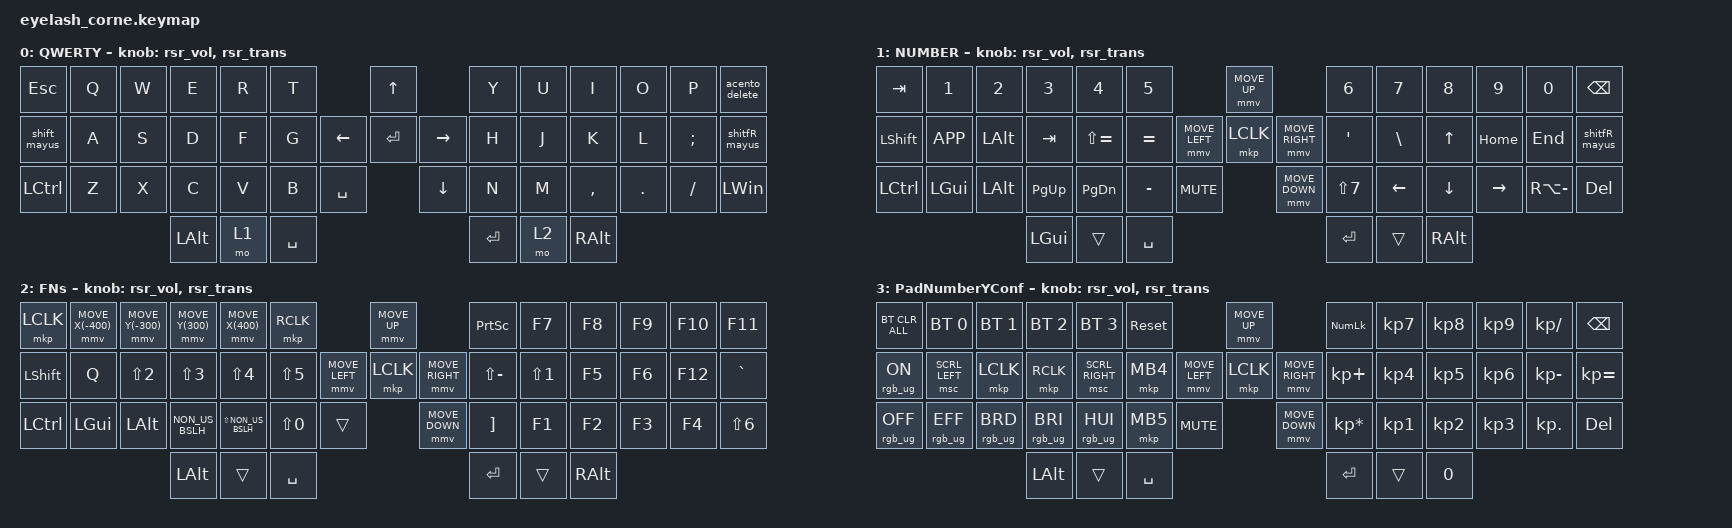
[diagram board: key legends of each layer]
#define ZMK_POINTING_DEFAULT_MOVE_VAL 1200  // 600
#define ZMK_POINTING_DEFAULT_SCRL_VAL 140   // 10

#include <input/processors.dtsi>
#include <zephyr/dt-bindings/input/input-event-codes.h>
#include <behaviors/runtime-sensor-rotate.dtsi>
#include <behaviors.dtsi>
#include <dt-bindings/zmk/bt.h>
#include <dt-bindings/zmk/keys.h>
#include <dt-bindings/zmk/pointing.h>
#include <dt-bindings/zmk/rgb.h>

&soft_off { hold-time-ms = <2000>; };

/ {
    behaviors {
        td0: td0 {
            compatible = "zmk,behavior-tap-dance";
            display-name = "Shift/Caps Lock Tap Dance";
            #binding-cells = <0>;
            bindings = <&kp LEFT_SHIFT>, <&kp CAPS>;
        };

        rsr_vol: rsr_vol {
            compatible = "zmk,behavior-runtime-sensor-rotate";
            #sensor-binding-cells = <0>;
            tap-ms = <5>;
            cw-binding = <&kp C_VOL_UP>;
            ccw-binding = <&kp C_VOL_DN>;
        };

        rsr_trans: rsr_trans {
            compatible = "zmk,behavior-runtime-sensor-rotate";
            #sensor-binding-cells = <0>;
            tap-ms = <0>;
        };

        shift_mayus: shift_mayus {
            compatible = "zmk,behavior-tap-dance";
            label = "SHIFT_MAYUS";
            #binding-cells = <0>;
            tapping-term-ms = <200>;
            bindings = <&kp LEFT_SHIFT>, <&kp CAPSLOCK>;
        };

        acento_delete: acento_delete {
            compatible = "zmk,behavior-tap-dance";
            label = "ACENTO_DELETE";
            #binding-cells = <0>;
            tapping-term-ms = <150>;
            bindings = <&kp LEFT_BRACKET>, <&kp BACKSPACE>;
        };

        shitfR_mayus: shitfR_mayus {
            compatible = "zmk,behavior-tap-dance";
            label = "SHITFR_MAYUS";
            #binding-cells = <0>;
            tapping-term-ms = <200>;
            bindings = <&kp RIGHT_SHIFT>, <&kp CAPSLOCK>;
        };
    };

    combos {
        compatible = "zmk,combos";

        softoff {
            bindings = <&soft_off>;
            key-positions = <1 15 29>;
            slow-release;
            layers = <2>;
            timeout-ms = <3000>;
            require-prior-idle-ms = <1000>;
        };
    };

    keymap {
        compatible = "zmk,keymap";

        qwerty {
            display-name = "QWERTY";
            bindings = <
&kp ESC       &kp Q  &kp W  &kp E         &kp R  &kp T                             &kp UP                &kp Y      &kp U  &kp I      &kp O    &kp P     &acento_delete
&shift_mayus  &kp A  &kp S  &kp D         &kp F  &kp G                   &kp LEFT  &kp ENTER  &kp RIGHT  &kp H      &kp J  &kp K      &kp L    &kp SEMI  &shitfR_mayus
&kp LCTRL     &kp Z  &kp X  &kp C         &kp V  &kp B      &kp SPACE              &kp DOWN              &kp N      &kp M  &kp COMMA  &kp DOT  &kp FSLH  &kp LEFT_WIN
                            &kp LEFT_ALT  &mo 1  &kp SPACE                                               &kp ENTER  &mo 2  &kp RALT
            >;

            sensor-bindings = <&rsr_vol &rsr_trans>;
        };

        NUMBER {
            display-name = "NUMBER";
            bindings = <
&kp TAB           &kp N1        &kp N2        &kp N3        &kp N4         &kp N5                                   &mmv MOVE_UP                     &kp N6          &kp N7         &kp N8         &kp N9     &kp N0         &kp BSPC
&kp LEFT_SHIFT    &kp K_APP     &kp LEFT_ALT  &kp TAB       &kp LS(EQUAL)  &kp EQUAL                &mmv MOVE_LEFT  &mkp LCLK       &mmv MOVE_RIGHT  &kp APOSTROPHE  &kp BACKSLASH  &kp UP         &kp HOME   &kp END        &shitfR_mayus
&kp LEFT_CONTROL  &kp LEFT_GUI  &kp LEFT_ALT  &kp PAGE_UP   &kp PAGE_DOWN  &kp MINUS  &kp C_MUTE                    &mmv MOVE_DOWN                   &kp LS(N7)      &kp LEFT       &kp DOWN       &kp RIGHT  &kp RA(MINUS)  &kp DEL
                                              &kp LEFT_GUI  &trans         &kp SPACE                                                                 &kp ENTER       &trans         &kp RIGHT_ALT
            >;

            sensor-bindings = <&rsr_vol &rsr_trans>;
        };

        FNs {
            display-name = "FNs";
            bindings = <
&mkp LCLK       &mmv MOVE_X(-400)  &mmv MOVE_Y(-300)  &mmv MOVE_Y(300)  &mmv MOVE_X(400)     &mkp RCLK                                   &mmv MOVE_UP                     &kp PRINTSCREEN    &kp F7      &kp F8         &kp F9  &kp F10  &kp F11
&kp LEFT_SHIFT  &kp Q              &kp LS(N2)         &kp LS(NUMBER_3)  &kp LS(NUMBER_4)     &kp LS(NUMBER_5)            &mmv MOVE_LEFT  &mkp LCLK       &mmv MOVE_RIGHT  &kp LS(MINUS)      &kp LS(N1)  &kp F5         &kp F6  &kp F12  &kp GRAVE
&kp LCTRL       &kp LEFT_GUI       &kp LEFT_ALT       &kp NON_US_BSLH   &kp LS(NON_US_BSLH)  &kp LS(N0)        &trans                    &mmv MOVE_DOWN                   &kp RIGHT_BRACKET  &kp F1      &kp F2         &kp F3  &kp F4   &kp LS(NUMBER_6)
                                                      &kp LEFT_ALT      &trans               &kp SPACE                                                                    &kp RET            &trans      &kp RIGHT_ALT
            >;

            sensor-bindings = <&rsr_vol &rsr_trans>;
        };

        PadNumber {
            display-name = "PadNumberYConf";
            bindings = <
&bt BT_CLR_ALL   &bt BT_SEL 0     &bt BT_SEL 1     &bt BT_SEL 2     &bt BT_SEL 3     &sys_reset                                &mmv MOVE_UP                     &kp KP_NUMLOCK   &kp KP_NUMBER_7  &kp KP_NUMBER_8  &kp KP_NUMBER_9  &kp KP_DIVIDE    &kp BACKSPACE
&rgb_ug RGB_ON   &msc SCRL_LEFT   &mkp LCLK        &mkp RCLK        &msc SCRL_RIGHT  &mkp MB4                  &mmv MOVE_LEFT  &mkp LCLK       &mmv MOVE_RIGHT  &kp KP_PLUS      &kp KP_NUMBER_4  &kp KP_NUMBER_5  &kp KP_NUMBER_6  &kp KP_SUBTRACT  &kp KP_EQUAL
&rgb_ug RGB_OFF  &rgb_ug RGB_EFF  &rgb_ug RGB_BRD  &rgb_ug RGB_BRI  &rgb_ug RGB_HUI  &mkp MB5    &kp C_MUTE                    &mmv MOVE_DOWN                   &kp KP_MULTIPLY  &kp KP_NUMBER_1  &kp KP_NUMBER_2  &kp KP_NUMBER_3  &kp KP_DOT       &kp DEL
                                                   &kp LEFT_ALT     &trans           &kp SPACE                                                                  &kp ENTER        &trans           &kp NUMBER_0
            >;

            sensor-bindings = <&rsr_vol &rsr_trans>;
        };
    };

    conditional_layers {
        compatible = "zmk,conditional-layers";

        encneder_pad-conf {
            if-layers = <1 2>;
            then-layer = <3>;
        };
    };
};
